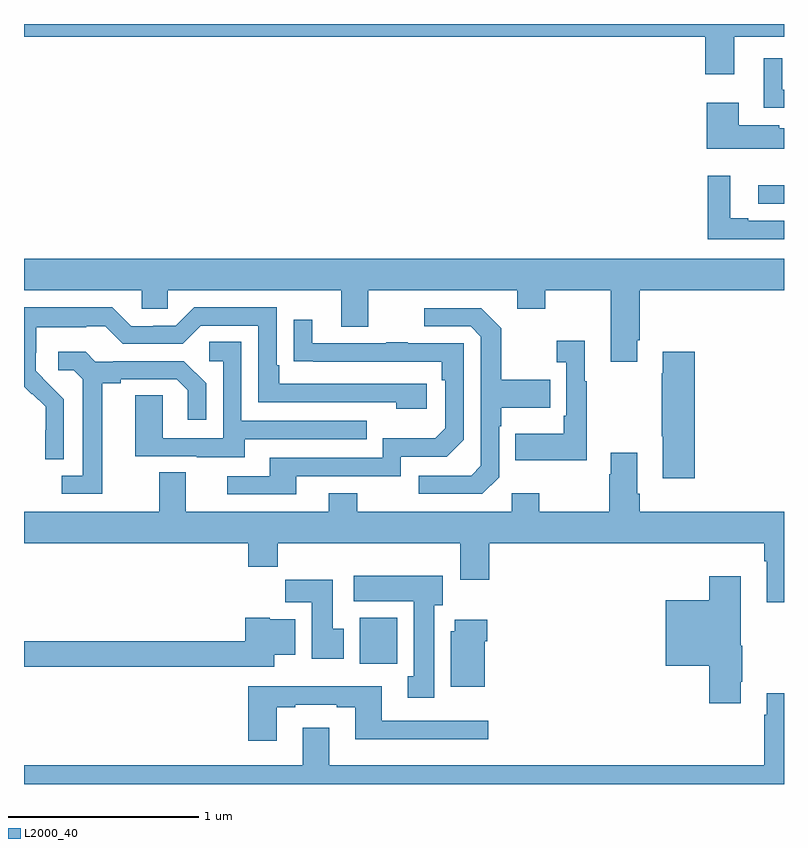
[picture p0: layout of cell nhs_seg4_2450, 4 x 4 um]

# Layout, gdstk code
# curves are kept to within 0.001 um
import gdstk
lib = gdstk.Library(unit=1e-6, precision=1e-09)
def R(c, l, rs):  # rectangles x0, y0, x1, y1
    for r in rs: c.add(gdstk.rectangle(r[:2], r[2:], *l))
def P(c, l, *ps):  # polygons
    for p in ps: c.add(gdstk.Polygon(p, *l))
L2000_40 = (2000, 40)

nhs_seg4_2450 = lib.new_cell('nhs_seg4_2450')
R(nhs_seg4_2450, L2000_40, [(240.767,781.532,240.964,781.774), (242.865,783.954,243,784.052)])
P(nhs_seg4_2450, L2000_40, [(242.737,784.832),(243,784.832),(243,784.9),(239,784.9),(239,784.832),(242.585,784.832),(242.585,784.635),(242.737,784.635)],
  [(243,784.554),(242.992,784.554),(242.992,784.72),(242.894,784.72),(242.894,784.458),(243,784.458)],
  [(243,784.351),(242.976,784.351),(242.976,784.366),(242.761,784.366),(242.761,784.486),(242.594,784.486),(242.594,784.244),(243,784.244)],
  [(243,783.864),(242.812,783.864),(242.812,783.877),(242.716,783.877),(242.716,784.102),(242.599,784.102),(242.599,783.768),(243,783.768)],
  [(242.227,783.235),(242.24,783.235),(242.24,783.5),(243,783.5),(243,783.664),(239,783.664),(239,783.5),(239.619,783.5),(239.619,783.402),(239.757,783.402),(239.757,783.5),(240.671,783.5),(240.671,783.306),(240.811,783.306),(240.811,783.5),(241.595,783.5),(241.595,783.401),(241.743,783.401),(241.743,783.5),(242.087,783.5),(242.087,783.123),(242.227,783.123)],
  [(239.208,782.926),(239.062,783.074),(239.062,783.171),(239.064,783.171),(239.064,783.305),(239.327,783.305),(239.327,783.309),(239.427,783.309),(239.52,783.216),(239.835,783.216),(239.931,783.312),(240.234,783.312),(240.234,782.91),(240.959,782.91),(240.959,782.876),(241.12,782.876),(241.12,783.006),(240.343,783.006),(240.343,783.103),(240.33,783.103),(240.33,783.408),(239.895,783.408),(239.799,783.312),(239.681,783.312),(239.681,783.309),(239.565,783.309),(239.465,783.409),(239,783.409),(239,782.992),(239.04,782.952),(239.043,782.955),(239.114,782.885),(239.114,782.762),(239.112,782.762),(239.112,782.608),(239.208,782.608)],
  [(241.5,782.514),(241.5,782.783),(241.513,782.783),(241.513,782.879),(241.769,782.879),(241.769,783.027),(241.513,783.027),(241.513,783.299),(241.407,783.405),(241.107,783.405),(241.107,783.309),(241.35,783.309),(241.404,783.255),(241.404,782.574),(241.353,782.523),(241.077,782.523),(241.077,782.427),(241.413,782.427)],
  [(240.433,782.52),(240.984,782.52),(240.984,782.622),(241.224,782.622),(241.314,782.712),(241.314,783.219),(241.019,783.219),(241.019,783.224),(240.907,783.224),(240.907,783.219),(240.517,783.219),(240.517,783.343),(240.421,783.343),(240.421,783.124),(241.198,783.123),(241.198,783.026),(241.218,783.026),(241.218,782.772),(241.165,782.719),(240.888,782.719),(240.888,782.616),(240.293,782.616),(240.293,782.52),(240.069,782.52),(240.069,782.424),(240.433,782.424)],
  [(241.963,783.019),(241.951,783.019),(241.951,783.232),(241.803,783.232),(241.803,783.119),(241.854,783.119),(241.854,782.839),(241.842,782.839),(241.842,782.743),(241.585,782.743),(241.585,782.603),(241.963,782.603)],
  [(240.163,782.715),(240.803,782.715),(240.803,782.811),(240.144,782.811),(240.144,783.227),(239.976,783.227),(239.976,783.126),(240.048,783.126),(240.048,782.721),(239.73,782.721),(239.73,782.945),(239.585,782.945),(239.585,782.625),(239.909,782.625),(239.909,782.621),(240.163,782.621)],
  [(242.531,783.175),(242.363,783.175),(242.363,783.062),(242.356,783.062),(242.356,782.731),(242.363,782.731),(242.363,782.508),(242.531,782.508)],
  [(239.413,783.008),(239.509,783.008),(239.509,783.03),(239.804,783.03),(239.861,782.973),(239.861,782.817),(239.958,782.817),(239.958,783.01),(239.842,783.126),(239.47,783.126),(239.47,783.123),(239.376,783.123),(239.324,783.175),(239.181,783.175),(239.181,783.078),(239.262,783.078),(239.309,783.031),(239.309,782.523),(239.199,782.523),(239.199,782.427),(239.413,782.427)],
  [(243,782.332),(242.24,782.332),(242.24,782.428),(242.227,782.428),(242.227,782.644),(242.087,782.644),(242.087,782.531),(242.08,782.531),(242.08,782.332),(241.713,782.332),(241.713,782.431),(241.566,782.431),(241.566,782.332),(240.753,782.332),(240.753,782.431),(240.605,782.431),(240.605,782.332),(239.851,782.332),(239.851,782.54),(239.711,782.54),(239.711,782.332),(239,782.332),(239,782.168),(240.179,782.168),(240.179,782.044),(240.335,782.044),(240.335,782.168),(241.295,782.168),(241.295,781.974),(241.448,781.974),(241.448,782.168),(242.897,782.168),(242.897,782.072),(242.909,782.072),(242.909,781.857),(243,781.857)],
  [(241.159,781.842),(241.204,781.842),(241.204,781.996),(240.735,781.996),(240.735,781.862),(241.052,781.862),(241.052,781.466),(241.019,781.466),(241.019,781.353),(241.159,781.353)],
  [(242.773,781.438),(242.781,781.438),(242.781,781.627),(242.773,781.627),(242.773,781.993),(242.606,781.993),(242.606,781.867),(242.378,781.867),(242.378,781.523),(242.606,781.523),(242.606,781.326),(242.773,781.326)],
  [(240.682,781.716),(240.625,781.716),(240.625,781.975),(240.376,781.975),(240.376,781.856),(240.515,781.856),(240.515,781.56),(240.682,781.56)],
  [(240.316,781.58),(240.427,781.58),(240.427,781.768),(240.294,781.768),(240.294,781.774),(240.164,781.774),(240.164,781.652),(239,781.652),(239,781.516),(240.316,781.516)],
  [(241.426,781.652),(241.439,781.652),(241.439,781.765),(241.268,781.765),(241.268,781.704),(241.247,781.704),(241.247,781.412),(241.426,781.412)],
  [(240.331,781.305),(240.427,781.305),(240.427,781.317),(240.647,781.317),(240.647,781.305),(240.743,781.305),(240.743,781.136),(241.444,781.136),(241.444,781.233),(240.883,781.233),(240.883,781.414),(240.179,781.414),(240.179,781.128),(240.331,781.128)],
  [(243,781.378),(242.909,781.378),(242.909,781.265),(242.897,781.265),(242.897,781),(240.607,781),(240.607,781.195),(240.467,781.195),(240.467,781),(239,781),(239,780.9),(243,780.9)])

lib.write_gds('nhs_seg4_2450.gds')
